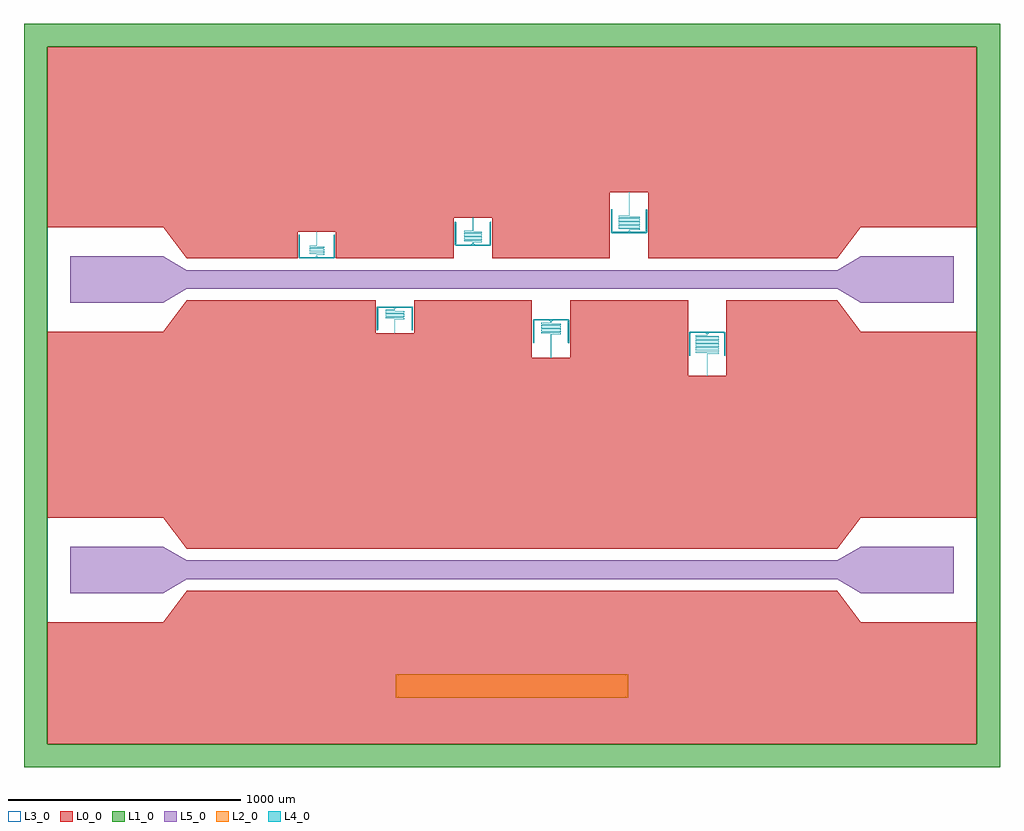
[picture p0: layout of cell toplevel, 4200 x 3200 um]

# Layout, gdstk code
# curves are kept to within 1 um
import gdstk
lib = gdstk.Library(unit=1e-6, precision=1e-09)
def R(c, l, rs):  # rectangles x0, y0, x1, y1
    for r in rs: c.add(gdstk.rectangle(r[:2], r[2:], *l))
def P(c, l, *ps):  # polygons
    for p in ps: c.add(gdstk.Polygon(p, *l))
L0_0 = (0, 0)
L1_0 = (1, 0)
L2_0 = (2, 0)
L3_0 = (3, 0)
L4_0 = (4, 0)
L5_0 = (5, 0)

toplevel = lib.new_cell('toplevel')
P(toplevel, L0_0, [(-757.5,705),(-757.5,590),(-250.5,590),(-250.5,764.4),(-85.5,764.4),(-85.5,590),(421.5,590),(421.5,873.8),(586.5,873.8),(586.5,590),(1400,590),(1500,725),(2000,725),(2000,1500),(-2000,1500),(-2000,725),(-1500,725),(-1400,590),(-922.5,590),(-922.5,705)],
  [(2000,275),(1500,275),(1400,410),(922.5,410),(922.5,84),(757.5,84),(757.5,410),(250.5,410),(250.5,163.4),(85.5,163.4),(85.5,410),(-421.5,410),(-421.5,267.8),(-586.5,267.8),(-586.5,410),(-1400,410),(-1500,275),(-2000,275),(-2000,-525),(-1500,-525),(-1400,-660),(1400,-660),(1500,-525),(2000,-525)],
  [(1400,-840),(-1400,-840),(-1500,-975),(-2000,-975),(-2000,-1500),(2000,-1500),(2000,-975),(1500,-975)])
P(toplevel, L1_0, [(2100,1600),(-2100,1600),(-2100,-1500),(-2000,-1500),(-2000,1500),(2000,1500),(2000,-1500),(-2000,-1500),(-2100,-1500),(-2100,-1600),(2100,-1600)])
R(toplevel, L2_0, [(-500,-1300,500,-1200)])
R(toplevel, L3_0, [(-2000,-1500,2000,1500)])
P(toplevel, L4_0, [(-839.7,603.925),(-839.566,604.536),(-839.02,604.699),(-809.78,604.71),(-808.933,605.13),(-808.7,606.101),(-808.75,609.468),(-809.13,610.067),(-809.828,610.293),(-869.888,610.3),(-870.646,610.605),(-870.689,614.197),(-870.127,614.695),(-809.923,614.702),(-808.79,615.401),(-808.738,619.416),(-809.1,620.044),(-809.81,620.292),(-869.888,620.3),(-870.644,620.598),(-870.682,624.251),(-870.145,624.694),(-809.946,624.701),(-808.797,625.381),(-808.733,629.39),(-809.058,630.008),(-809.816,630.292),(-869.95,630.3),(-870.64,630.589),(-870.687,634.21),(-870.15,634.693),(-810.008,634.7),(-808.81,635.348),(-808.736,639.403),(-809.082,640.029),(-809.786,640.29),(-869.95,640.3),(-870.632,640.57),(-870.691,644.176),(-870.247,644.682),(-840.963,644.701),(-839.834,645.296),(-839.7,705),(-840.3,705),(-840.375,645.555),(-841.02,645.3),(-870.364,645.271),(-871.272,644.358),(-871.178,640.322),(-869.986,639.7),(-809.85,639.693),(-809.312,639.206),(-809.364,635.579),(-810.05,635.3),(-870.214,635.29),(-870.918,635.029),(-871.263,634.409),(-871.198,630.368),(-870.763,629.864),(-869.992,629.7),(-809.864,629.694),(-809.31,629.189),(-809.365,625.576),(-809.985,625.301),(-870.19,625.292),(-870.918,625.029),(-871.264,624.403),(-871.208,620.394),(-870.077,619.702),(-809.855,619.694),(-809.309,619.176),(-809.356,615.598),(-810.112,615.3),(-870.22,615.289),(-870.912,615.034),(-871.265,614.396),(-871.232,610.467),(-870.814,609.894),(-870.077,609.702),(-809.824,609.691),(-809.315,609.227),(-809.308,605.828),(-809.985,605.301),(-839.481,605.246),(-840.278,604.32),(-840.3,600),(-850,595),(-910.62,595),(-912.27,595.279),(-912.502,690.109),(-912.952,691.434),(-914.043,692.31),(-915.326,692.479),(-916.607,691.915),(-917.266,691.056),(-917.5,690),(-917.475,595.954),(-916.915,593.4),(-915.498,591.451),(-913.414,590.336),(-910.644,590),(-769.356,590),(-766.888,590.253),(-764.934,591.118),(-763.131,593.296),(-762.504,596.513),(-762.5,690),(-763.085,691.607),(-764.353,692.415),(-765.752,692.384),(-766.983,691.522),(-767.498,690.109),(-767.5,596.88),(-767.751,595.251),(-769.38,595),(-830,595),(-839.7,600)],
  [(-504.302,368.723),(-504.443,368.254),(-504.919,368.103),(-542.377,368.069),(-543.085,367.645),(-543.3,366.742),(-543.267,363.41),(-542.965,362.813),(-542.39,362.533),(-466.01,362.5),(-465.432,362.334),(-465.3,361.678),(-465.32,358.541),(-465.891,358.104),(-541.981,358.1),(-542.75,357.943),(-543.19,357.452),(-543.261,353.384),(-542.9,352.756),(-542.172,352.507),(-466.06,352.5),(-465.367,352.227),(-465.313,348.586),(-465.877,348.105),(-541.975,348.1),(-542.73,347.953),(-543.172,347.491),(-543.263,343.391),(-542.906,342.761),(-542.172,342.507),(-466.06,342.5),(-465.376,342.248),(-465.313,338.59),(-465.877,338.105),(-541.97,338.1),(-543.15,337.537),(-543.265,333.404),(-542.912,332.766),(-542.178,332.507),(-466.065,332.5),(-465.388,332.271),(-465.309,328.62),(-465.79,328.113),(-503.003,328.099),(-504.117,327.595),(-504.3,267.8),(-503.7,267.8),(-503.606,327.282),(-502.96,327.5),(-465.693,327.52),(-465.041,327.807),(-464.728,328.442),(-464.864,332.563),(-466.03,333.1),(-542.123,333.105),(-542.687,333.59),(-542.618,337.26),(-541.935,337.5),(-465.828,337.507),(-465.093,337.761),(-464.736,338.397),(-464.837,342.511),(-466.025,343.1),(-542.123,343.105),(-542.687,343.59),(-542.628,347.239),(-541.94,347.5),(-465.828,347.507),(-465.099,347.756),(-464.738,348.384),(-464.816,352.465),(-465.263,352.95),(-466.025,353.1),(-542.123,353.105),(-542.687,353.586),(-542.636,357.221),(-541.94,357.5),(-465.852,357.505),(-465.136,357.728),(-464.736,358.397),(-464.8,362.425),(-465.218,362.925),(-465.969,363.099),(-542.167,363.108),(-542.685,363.573),(-542.694,366.945),(-542.516,367.382),(-541.899,367.5),(-504.584,367.538),(-503.986,367.864),(-503.726,368.455),(-503.7,372.8),(-494,377.8),(-433.38,377.8),(-431.728,377.518),(-431.5,375.92),(-431.498,282.691),(-431.048,281.366),(-429.957,280.49),(-428.674,280.321),(-427.393,280.885),(-426.734,281.743),(-426.5,282.8),(-426.525,376.846),(-427.131,379.504),(-428.534,381.377),(-430.552,382.454),(-433.356,382.8),(-574.644,382.8),(-577.112,382.547),(-579.066,381.682),(-580.853,379.539),(-581.496,376.287),(-581.5,282.8),(-580.915,281.193),(-579.647,280.385),(-578.248,280.416),(-577.017,281.278),(-576.502,282.691),(-576.5,375.92),(-576.254,377.543),(-574.62,377.8),(-514,377.8),(-504.3,372.8)],
  [(-167.7,658.33),(-167.559,658.944),(-167.005,659.099),(-131.316,659.107),(-130.461,659.494),(-130.2,660.501),(-130.257,663.894),(-130.624,664.462),(-131.358,664.695),(-204.388,664.7),(-205.148,665.012),(-205.184,668.639),(-204.654,669.093),(-131.463,669.101),(-130.718,669.275),(-130.3,669.775),(-130.236,673.803),(-130.57,674.419),(-131.346,674.694),(-204.445,674.7),(-205.139,674.986),(-205.187,678.614),(-204.627,679.095),(-131.519,679.1),(-130.75,679.257),(-130.31,679.748),(-130.238,683.816),(-130.593,684.439),(-131.322,684.693),(-204.44,684.7),(-205.132,684.97),(-205.187,688.61),(-204.627,689.095),(-131.525,689.1),(-130.776,689.243),(-130.331,689.702),(-130.236,693.803),(-130.593,694.439),(-131.322,694.693),(-204.44,694.7),(-205.121,694.946),(-205.187,698.61),(-204.627,699.095),(-131.53,699.1),(-130.357,699.65),(-130.235,703.796),(-130.587,704.434),(-131.316,704.692),(-204.435,704.7),(-205.109,704.924),(-205.191,708.576),(-204.714,709.087),(-168.991,709.101),(-167.89,709.592),(-167.7,764.4),(-168.3,764.4),(-168.399,709.911),(-169.04,709.7),(-204.82,709.678),(-205.47,709.382),(-205.774,708.745),(-205.629,704.624),(-204.47,704.1),(-131.373,704.095),(-130.812,703.606),(-130.885,699.935),(-131.56,699.7),(-204.684,699.692),(-205.412,699.434),(-205.765,698.796),(-205.657,694.676),(-205.211,694.237),(-204.475,694.1),(-131.373,694.095),(-130.813,693.61),(-130.873,689.958),(-131.56,689.7),(-204.678,689.693),(-205.406,689.439),(-205.763,688.809),(-205.681,684.728),(-205.237,684.25),(-204.481,684.1),(-131.373,684.095),(-130.813,683.614),(-130.864,679.979),(-131.555,679.7),(-204.678,679.693),(-205.406,679.439),(-205.762,678.816),(-205.695,674.761),(-205.256,674.26),(-204.481,674.1),(-131.386,674.096),(-130.819,673.655),(-130.855,670.002),(-131.505,669.7),(-204.653,669.694),(-205.394,669.448),(-205.765,668.796),(-205.708,664.794),(-205.224,664.243),(-204.388,664.1),(-131.346,664.093),(-130.944,663.948),(-130.801,663.444),(-130.808,660.228),(-131.172,659.734),(-167.428,659.659),(-168.019,659.33),(-168.275,658.739),(-168.3,654.4),(-178,649.4),(-238.62,649.4),(-240.243,649.646),(-240.5,651.3),(-240.502,744.509),(-240.952,745.834),(-242.043,746.71),(-243.326,746.879),(-244.607,746.315),(-245.266,745.456),(-245.5,744.4),(-245.475,650.354),(-244.915,647.8),(-243.498,645.851),(-241.414,644.736),(-238.644,644.4),(-97.356,644.4),(-94.888,644.653),(-92.934,645.518),(-91.869,646.5),(-91.1,647.765),(-90.503,650.963),(-90.5,744.4),(-91.085,746.007),(-92.353,746.815),(-93.752,746.784),(-94.983,745.922),(-95.498,744.509),(-95.5,651.28),(-95.751,649.651),(-97.38,649.4),(-158,649.4),(-167.7,654.4)],
  [(167.697,314.323),(167.555,313.852),(167.077,313.702),(127.699,313.681),(126.961,313.306),(126.701,312.42),(126.729,309.036),(126.961,308.493),(127.493,308.16),(208.091,308.097),(208.544,307.959),(208.695,307.532),(208.695,304.277),(208.427,303.767),(127.876,303.696),(127.082,303.429),(126.715,302.67),(126.712,299.161),(127.257,298.253),(208.114,298.096),(208.519,297.981),(208.689,297.593),(208.494,293.802),(127.876,293.696),(127.058,293.408),(126.717,292.682),(126.712,289.161),(127.142,288.324),(128.111,288.1),(208.114,288.096),(208.688,287.602),(208.53,283.828),(127.882,283.696),(127.099,283.444),(126.731,282.777),(126.704,279.276),(127.013,278.435),(128.111,278.1),(208.109,278.096),(208.687,277.614),(208.559,273.856),(127.888,273.696),(127.148,273.48),(126.75,272.868),(126.7,269.403),(127.013,268.435),(127.957,268.101),(207.94,268.1),(208.644,267.801),(208.689,264.207),(208.206,263.712),(168.98,263.699),(168.231,263.532),(167.8,263.025),(167.7,163.4),(168.3,163.4),(168.359,262.808),(169.03,263.1),(208.294,263.118),(208.948,263.397),(209.267,264.01),(209.205,268.012),(208.763,268.536),(207.981,268.7),(127.882,268.704),(127.314,269.182),(127.353,272.792),(128.055,273.1),(208.165,273.106),(208.894,273.352),(209.259,273.971),(209.217,277.979),(208.782,278.525),(207.981,278.7),(127.882,278.704),(127.314,279.177),(127.348,282.778),(128.055,283.1),(208.165,283.106),(208.894,283.352),(209.257,283.965),(209.226,287.953),(208.788,288.521),(207.981,288.7),(127.882,288.704),(127.314,289.177),(127.344,292.764),(128.055,293.1),(208.165,293.106),(208.894,293.352),(209.257,293.965),(209.234,297.927),(208.801,298.513),(207.986,298.7),(127.882,298.704),(127.315,299.173),(127.341,302.754),(128.055,303.1),(208.13,303.104),(208.882,303.342),(209.257,303.965),(209.24,307.907),(208.858,308.476),(208.031,308.699),(127.868,308.705),(127.313,309.186),(127.378,312.851),(128.106,313.1),(167.454,313.147),(168.008,313.458),(168.273,314.049),(168.3,318.4),(178,323.4),(238.6,323.4),(240.243,323.154),(240.5,321.5),(240.502,228.291),(240.734,227.343),(241.393,226.485),(242.248,226.016),(243.218,225.909),(244.768,226.632),(245.498,228.291),(245.5,321.52),(245.154,324.348),(243.964,326.495),(242.031,327.844),(239.3,328.387),(97.38,328.4),(94.987,328.171),(93.139,327.416),(92.007,326.463),(91.197,325.243),(90.679,323.685),(90.507,322.015),(90.5,228.4),(90.734,227.343),(91.311,226.557),(92.248,226.016),(93.218,225.909),(94.768,226.632),(95.498,228.291),(95.5,321.52),(95.751,323.149),(97.4,323.4),(158,323.4),(167.7,318.4)],
  [(504.3,712.73),(504.421,713.321),(504.933,713.498),(548.332,713.524),(549.058,713.918),(549.299,714.78),(549.269,718.177),(549.024,718.724),(548.474,719.048),(459.919,719.103),(459.458,719.239),(459.306,719.664),(459.305,722.923),(459.573,723.433),(548.118,723.504),(548.948,723.797),(549.29,724.586),(549.274,728.145),(548.652,728.99),(459.886,729.104),(459.452,729.244),(459.311,729.603),(459.304,732.904),(459.508,733.399),(548.118,733.504),(548.936,733.786),(549.282,734.512),(549.287,738.045),(548.852,738.88),(547.888,739.1),(459.891,739.104),(459.458,739.239),(459.312,739.594),(459.472,743.374),(548.112,743.504),(548.894,743.752),(549.269,744.423),(549.288,748.038),(548.953,748.798),(547.888,749.1),(459.896,749.104),(459.464,749.234),(459.314,749.582),(459.443,753.346),(548.106,753.503),(548.912,753.766),(549.264,754.397),(549.296,757.924),(549.019,758.73),(547.888,759.1),(459.896,759.104),(459.47,759.228),(459.315,759.573),(459.416,763.314),(460.117,763.5),(548.106,763.503),(548.833,763.707),(549.241,764.3),(549.299,767.797),(548.987,768.765),(548.037,769.099),(460.065,769.1),(459.363,769.382),(459.311,772.993),(459.807,773.489),(503.008,773.501),(503.75,773.657),(504.184,774.135),(504.3,873.8),(503.7,873.8),(503.633,774.373),(502.96,774.1),(459.724,774.084),(459.058,773.808),(458.733,773.19),(458.808,769.155),(459.25,768.657),(460.03,768.5),(548.104,768.496),(548.528,768.374),(548.686,768.023),(548.641,764.392),(547.94,764.1),(459.846,764.094),(459.105,763.848),(458.741,763.228),(458.795,759.188),(459.237,758.664),(460.025,758.5),(548.109,758.496),(548.528,758.374),(548.686,758.023),(548.646,754.405),(547.94,754.1),(459.846,754.094),(459.105,753.848),(458.741,753.228),(458.785,749.214),(459.224,748.671),(460.025,748.5),(548.109,748.496),(548.528,748.374),(548.686,748.023),(548.651,744.418),(547.94,744.1),(459.852,744.095),(459.112,743.853),(458.743,743.235),(458.776,739.24),(459.211,738.679),(460.025,738.5),(548.109,738.496),(548.528,738.374),(548.685,738.027),(548.655,734.432),(547.94,734.1),(459.852,734.095),(459.112,733.853),(458.744,733.241),(458.768,729.267),(459.199,728.687),(460.019,728.5),(548.109,728.496),(548.528,728.374),(548.685,728.027),(548.657,724.439),(547.945,724.1),(459.882,724.096),(459.118,723.858),(458.743,723.235),(458.762,719.287),(459.186,718.694),(459.98,718.501),(548.063,718.498),(548.528,718.374),(548.686,718.018),(548.622,714.349),(547.894,714.1),(504.571,714.059),(504.002,713.753),(503.728,713.158),(503.7,708.8),(494,703.8),(433.38,703.8),(431.765,704.04),(431.5,705.68),(431.498,798.909),(431.266,799.856),(430.689,800.643),(429.855,801.149),(428.891,801.298),(427.943,801.066),(427.232,800.568),(426.69,799.757),(426.502,798.909),(426.5,705.656),(426.846,702.852),(428.007,700.737),(429.935,699.37),(432.673,698.814),(574.644,698.8),(576.98,699.021),(578.93,699.827),(580.077,700.834),(580.853,702.061),(581.321,703.515),(581.495,705.262),(581.5,798.8),(581.31,799.757),(580.689,800.643),(579.752,801.184),(578.782,801.29),(577.232,800.568),(576.69,799.757),(576.502,798.909),(576.5,705.68),(576.254,704.057),(574.62,703.8),(514,703.8),(504.3,708.8)],
  [(839.697,259.919),(839.548,259.444),(839.058,259.302),(790.693,259.28),(789.956,258.9),(789.701,258.037),(789.731,254.623),(790.029,254.018),(790.604,253.735),(889.091,253.697),(889.544,253.559),(889.695,253.132),(889.692,249.837),(889.375,249.347),(790.894,249.297),(790.029,248.982),(789.712,248.232),(789.726,244.655),(789.961,244.093),(790.388,243.795),(889.109,243.696),(889.546,243.557),(889.697,243.095),(889.696,239.891),(889.445,239.375),(790.888,239.296),(790.064,239.014),(789.718,238.288),(789.713,234.755),(790.192,233.89),(791.117,233.7),(889.109,233.696),(889.542,233.561),(889.688,233.206),(889.696,229.891),(889.523,229.423),(790.894,229.297),(790.07,229.019),(789.72,228.307),(789.713,224.755),(790.082,223.971),(791.117,223.7),(889.104,223.696),(889.538,223.565),(889.687,223.214),(889.556,219.452),(888.883,219.3),(790.894,219.297),(790.082,219.029),(789.723,218.326),(789.704,214.876),(790.018,214.03),(791.117,213.7),(889.1,213.696),(889.532,213.57),(889.686,213.223),(889.556,209.452),(888.883,209.3),(790.9,209.297),(790.1,209.044),(789.727,208.351),(789.704,204.876),(789.956,204.099),(790.44,203.776),(791.117,203.7),(889.095,203.697),(889.523,203.577),(889.69,203.189),(889.582,199.484),(888.883,199.3),(790.792,199.291),(790.047,198.998),(789.73,198.37),(789.704,194.876),(789.928,194.136),(790.394,193.792),(791.117,193.7),(889.095,193.697),(889.546,193.557),(889.689,193.193),(889.607,189.521),(888.883,189.3),(790.911,189.298),(790.199,189.113),(789.772,188.546),(789.7,185.008),(790.013,184.035),(790.974,183.701),(888.93,183.7),(889.625,183.445),(889.689,179.807),(889.548,179.444),(889.176,179.309),(841.003,179.299),(840.283,179.16),(839.843,178.724),(839.7,177.92),(839.7,84),(840.3,84),(840.379,178.454),(841.045,178.7),(889.251,178.713),(889.936,178.986),(890.268,179.617),(890.166,183.704),(889.717,184.16),(888.964,184.3),(790.905,184.303),(790.472,184.426),(790.314,184.782),(790.371,188.436),(791.065,188.7),(889.136,188.705),(889.888,188.947),(890.26,189.578),(890.181,193.672),(889.73,194.153),(888.964,194.3),(790.905,194.303),(790.475,194.425),(790.314,194.777),(790.364,198.421),(791.065,198.7),(889.136,198.705),(889.888,198.947),(890.259,199.571),(890.195,203.639),(889.75,204.143),(888.97,204.3),(790.905,204.303),(790.475,204.425),(790.315,204.773),(790.358,208.405),(791.065,208.7),(889.136,208.705),(889.882,208.942),(890.257,209.565),(890.208,213.606),(889.763,214.136),(888.97,214.3),(790.905,214.303),(790.475,214.425),(790.315,214.773),(790.353,218.392),(791.065,218.7),(889.136,218.705),(889.882,218.942),(890.257,219.565),(890.215,223.586),(889.776,224.129),(888.97,224.3),(790.905,224.303),(790.475,224.425),(790.315,224.773),(790.349,228.382),(790.567,228.631),(791.06,228.7),(889.136,228.705),(889.882,228.942),(890.256,229.558),(890.224,233.56),(889.782,234.125),(888.97,234.3),(790.905,234.303),(790.477,234.423),(790.315,234.769),(790.345,238.368),(790.561,238.628),(791.06,238.7),(889.136,238.705),(889.882,238.942),(890.256,239.558),(890.23,243.54),(889.795,244.117),(888.975,244.3),(790.914,244.303),(790.488,244.414),(790.32,244.737),(790.345,248.368),(790.529,248.612),(791.025,248.7),(889.112,248.703),(889.882,248.942),(890.256,249.558),(890.243,253.494),(889.845,254.085),(889.031,254.299),(790.937,254.302),(790.47,254.428),(790.314,254.782),(790.359,258.408),(791.106,258.7),(839.403,258.736),(839.987,259.035),(840.271,259.636),(840.3,264),(850,269),(910.62,269),(912.218,268.772),(912.5,267.1),(912.502,173.891),(912.734,172.943),(913.393,172.085),(914.248,171.616),(915.218,171.509),(916.056,171.734),(916.768,172.232),(917.266,172.943),(917.498,173.891),(917.5,267.12),(917.154,269.947),(916.678,271.085),(915.964,272.095),(914.031,273.444),(911.3,273.987),(769.356,274),(766.987,273.771),(765.139,273.016),(764.036,272.095),(763.197,270.843),(762.679,269.285),(762.507,267.615),(762.5,174),(762.734,172.943),(763.311,172.157),(764.248,171.616),(765.218,171.509),(766.056,171.734),(766.768,172.232),(767.266,172.943),(767.498,173.891),(767.5,267.12),(767.751,268.749),(769.38,269),(830,269),(839.7,264)])
P(toplevel, L5_0, [(-1400,540),(-1500,600),(-1900,600),(-1900,400),(-1500,400),(-1400,460),(1400,460),(1500,400),(1900,400),(1900,600),(1500,600),(1400,540)],
  [(-1400,-710),(-1500,-650),(-1900,-650),(-1900,-850),(-1500,-850),(-1400,-790),(1400,-790),(1500,-850),(1900,-850),(1900,-650),(1500,-650),(1400,-710)])

lib.write_gds('toplevel.gds')
